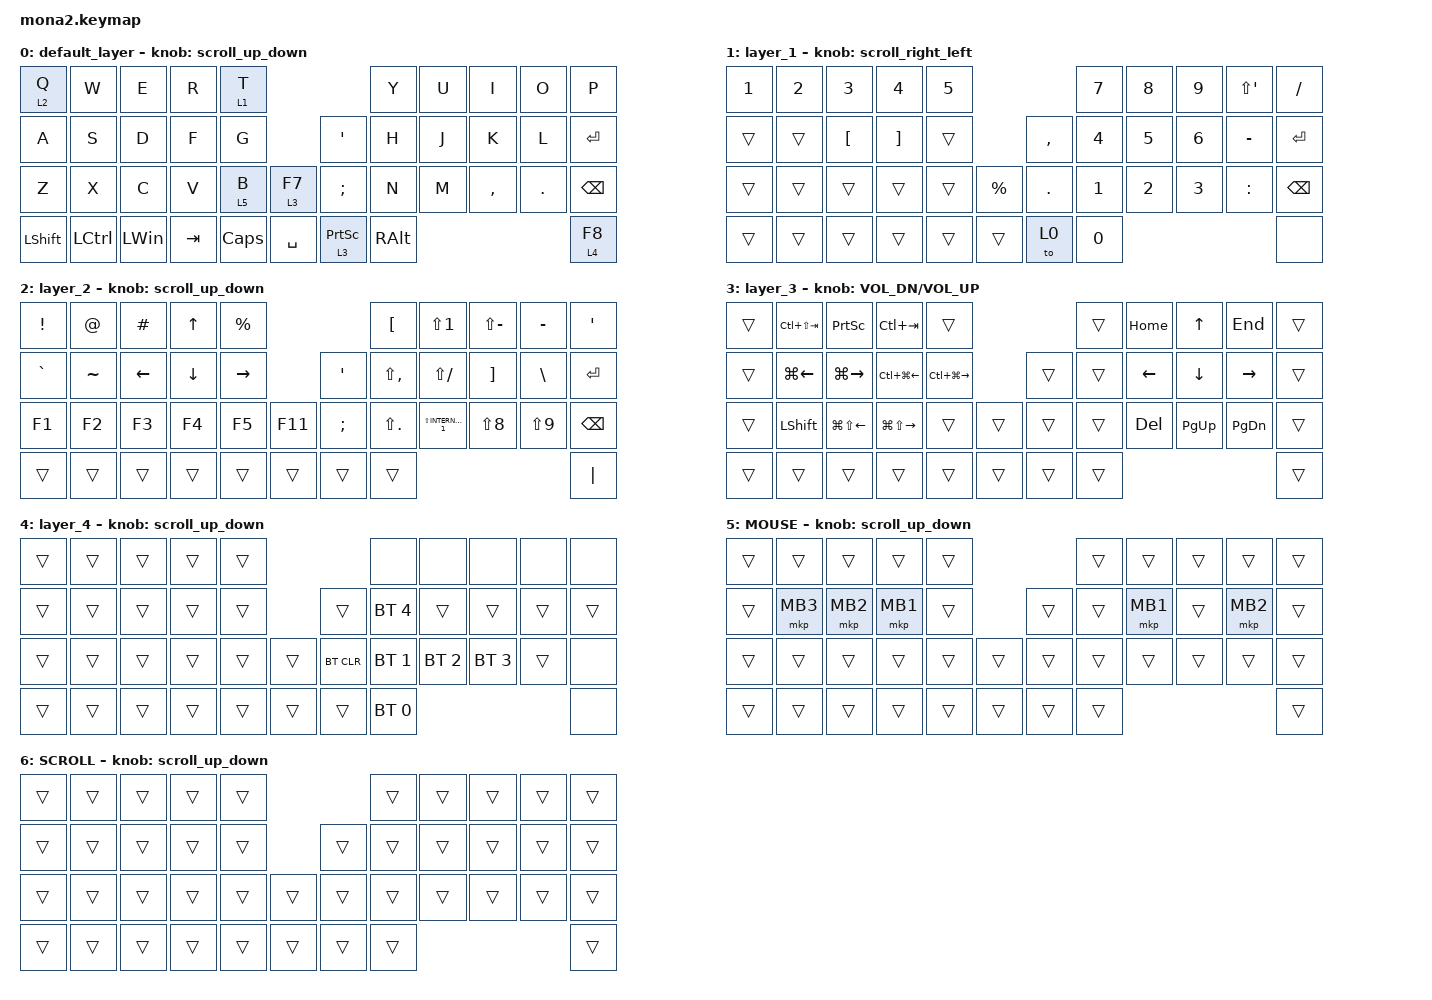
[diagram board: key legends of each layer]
#include <input/processors.dtsi>
#include <dt-bindings/zmk/input_transform.h>
#include <zephyr/dt-bindings/input/input-event-codes.h>
#include <behaviors.dtsi>
#include <dt-bindings/zmk/bt.h>
#include <dt-bindings/zmk/keys.h>
#include <dt-bindings/zmk/pointing.h>

#define ZMK_POINTING_DEFAULT_SCRL_VAL 100
#define MOUSE 5
#define SCROLL 6

&mt {
    flavor = "balanced";
    quick-tap-ms = <0>;
};

&lt {
    quick-tap-ms = <300>;
    flavor = "balanced";
};

/ {
    combos {
        compatible = "zmk,combos";

        mouseclick_left {
            bindings = <&mkp LCLK>;
            key-positions = <18 17>;
        };

        mouseclick_right {
            bindings = <&mkp MB2>;
            key-positions = <18 19>;
        };
    };

    macros {
        to_layer_0: to_layer_0 {
            compatible = "zmk,behavior-macro-one-param";
            #binding-cells = <1>;
            bindings = <&to 0 &macro_param_1to1 &kp MACRO_PLACEHOLDER>;
            label = "TO_LAYER_0";
        };
    };

    behaviors {
        lt_to_layer_0: lt_to_layer_0 {
            compatible = "zmk,behavior-hold-tap";
            label = "LAYER_TAP_TO_0";
            bindings = <&mo>, <&to_layer_0>;

            #binding-cells = <2>;
            tapping-term-ms = <200>;
        };

        scroll_up_down: mouse_wheel_up_down {
            compatible = "zmk,behavior-sensor-rotate";
            #sensor-binding-cells = <0>;
            bindings = <&msc SCRL_DOWN>, <&msc SCRL_UP>;

            tap-ms = <20>;
        };

        scroll_right_left: mouse_wheel_right_left {
            compatible = "zmk,behavior-sensor-rotate";
            #sensor-binding-cells = <0>;
            bindings = <&msc SCRL_LEFT>, <&msc SCRL_RIGHT>;

            tap-ms = <20>;
        };
    };

    keymap {
        compatible = "zmk,keymap";

        default_layer {
            bindings = <
&lt 2 Q         &kp W      &kp E         &kp R    &lt 1 T                                       &kp Y          &kp U  &kp I      &kp O    &kp P
&kp A           &kp S      &kp D         &kp F    &kp G                      &kp SINGLE_QUOTE   &kp H          &kp J  &kp K      &kp L    &kp ENTER
&kp Z           &kp X      &kp C         &kp V    &lt 5 B       &lt 3 F7     &kp SEMICOLON      &kp N          &kp M  &kp COMMA  &kp DOT  &kp BACKSPACE
&kp LEFT_SHIFT  &kp LCTRL  &kp LEFT_WIN  &kp TAB  &kp CAPSLOCK  &kp SPACE    &lt 3 PRINTSCREEN  &kp RIGHT_ALT                             &lt 4 F8
            >;

            sensor-bindings = <&scroll_up_down>;
        };

        layer_1 {
            bindings = <
&kp NUMBER_1  &kp NUMBER_2  &kp NUMBER_3      &kp NUMBER_4       &kp NUMBER_5                             &kp NUMBER_7  &kp NUMBER_8  &kp NUMBER_9  &kp LS(SINGLE_QUOTE)  &kp SLASH
&trans        &trans        &kp LEFT_BRACKET  &kp RIGHT_BRACKET  &trans                       &kp COMMA   &kp NUMBER_4  &kp NUMBER_5  &kp NUMBER_6  &kp MINUS             &kp ENTER
&trans        &trans        &trans            &trans             &trans        &kp PERCENT    &kp PERIOD  &kp NUMBER_1  &kp NUMBER_2  &kp NUMBER_3  &kp COLON             &kp BACKSPACE
&trans        &trans        &trans            &trans             &trans        &trans         &to 0       &kp NUMBER_0                                                    &none
            >;

            sensor-bindings = <&scroll_right_left>;
        };

        layer_2 {
            bindings = <
&kp EXCLAMATION  &kp AT_SIGN  &kp POUND       &kp UP_ARROW    &kp PERCENT                               &kp LEFT_BRACKET  &kp LS(NUMBER_1)         &kp LS(MINUS)      &kp MINUS      &kp SINGLE_QUOTE
&kp GRAVE        &kp TILDE    &kp LEFT_ARROW  &kp DOWN_ARROW  &kp RIGHT               &kp SINGLE_QUOTE  &kp LS(COMMA)     &kp LS(SLASH)            &kp RIGHT_BRACKET  &kp BACKSLASH  &kp ENTER
&kp F1           &kp F2       &kp F3          &kp F4          &kp F5       &kp F11    &kp SEMICOLON     &kp LS(PERIOD)    &kp LS(INTERNATIONAL_1)  &kp LS(N8)         &kp LS(N9)     &kp BACKSPACE
&trans           &trans       &trans          &trans          &trans       &trans     &trans            &trans                                                                       &kp PIPE
            >;

            sensor-bindings = <&scroll_up_down>;
        };

        layer_3 {
            bindings = <
&trans  &kp LC(LS(TAB))     &kp PRINTSCREEN         &kp LC(TAB)              &trans                                     &trans  &kp HOME        &kp UP_ARROW    &kp END          &trans
&trans  &kp LG(LEFT_ARROW)  &kp LG(RIGHT_ARROW)     &kp LC(LG(LEFT_ARROW))   &kp LC(LG(RIGHT_ARROW))            &trans  &trans  &kp LEFT_ARROW  &kp DOWN_ARROW  &kp RIGHT_ARROW  &trans
&trans  &kp LEFT_SHIFT      &kp LG(LS(LEFT_ARROW))  &kp LG(LS(RIGHT_ARROW))  &trans                   &trans    &trans  &trans  &kp DELETE      &kp PAGE_UP     &kp PAGE_DOWN    &trans
&trans  &trans              &trans                  &trans                   &trans                   &trans    &trans  &trans                                                   &trans
            >;

            sensor-bindings = <&inc_dec_kp C_VOL_DN C_VOL_UP>;
        };

        layer_4 {
            bindings = <
&trans  &trans  &trans  &trans  &trans                        &none         &none         &none         &none   &none
&trans  &trans  &trans  &trans  &trans            &trans      &bt BT_SEL 4  &trans        &trans        &trans  &trans
&trans  &trans  &trans  &trans  &trans  &trans    &bt BT_CLR  &bt BT_SEL 1  &bt BT_SEL 2  &bt BT_SEL 3  &trans  &none
&trans  &trans  &trans  &trans  &trans  &trans    &trans      &bt BT_SEL 0                                      &none
            >;

            sensor-bindings = <&scroll_up_down>;
        };

        MOUSE {
            bindings = <
&trans  &trans    &trans    &trans    &trans                    &trans  &trans    &trans  &trans    &trans
&trans  &mkp MB3  &mkp MB2  &mkp MB1  &trans            &trans  &trans  &mkp MB1  &trans  &mkp MB2  &trans
&trans  &trans    &trans    &trans    &trans  &trans    &trans  &trans  &trans    &trans  &trans    &trans
&trans  &trans    &trans    &trans    &trans  &trans    &trans  &trans                              &trans
            >;

            sensor-bindings = <&scroll_up_down>;
        };

        SCROLL {
            bindings = <
&trans  &trans  &trans  &trans  &trans                    &trans  &trans  &trans  &trans  &trans
&trans  &trans  &trans  &trans  &trans            &trans  &trans  &trans  &trans  &trans  &trans
&trans  &trans  &trans  &trans  &trans  &trans    &trans  &trans  &trans  &trans  &trans  &trans
&trans  &trans  &trans  &trans  &trans  &trans    &trans  &trans                          &trans
            >;

            sensor-bindings = <&scroll_up_down>;
        };
    };
};
